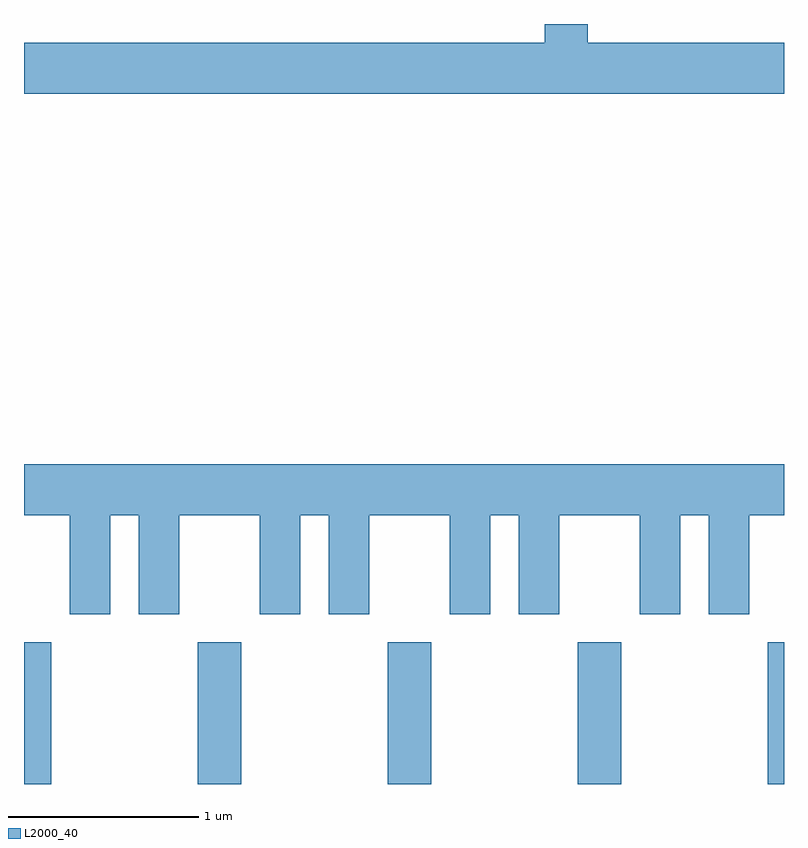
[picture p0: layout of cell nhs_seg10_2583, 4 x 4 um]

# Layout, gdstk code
import gdstk
lib = gdstk.Library(unit=1e-6, precision=1e-09)
def R(c, l, rs):  # rectangles x0, y0, x1, y1
    for r in rs: c.add(gdstk.rectangle(r[:2], r[2:], *l))
def A(c, l, x, y, w, h, nx, ny, dx, dy):  # array of equal rectangles
    R(c, l, [(x+i*dx, y+j*dy, x+i*dx+w, y+j*dy+h) for i in range(nx) for j in range(ny)])
def P(c, l, *ps):  # polygons
    for p in ps: c.add(gdstk.Polygon(p, *l))
L2000_40 = (2000, 40)

nhs_seg10_2583 = lib.new_cell('nhs_seg10_2583')
A(nhs_seg10_2583, L2000_40, 262.526, 2092.522, 0.228, 0.747, 3, 1, 1, 0)
R(nhs_seg10_2583, L2000_40, [(261.611,2092.522,261.754,2093.269), (265.526,2092.522,265.611,2093.269)])
P(nhs_seg10_2583, L2000_40, [(265.611,2096.424),(264.579,2096.424),(264.579,2096.522),(264.351,2096.522),(264.351,2096.424),(261.611,2096.424),(261.611,2096.156),(265.611,2096.156)],
  [(262.064,2093.936),(262.216,2093.936),(262.216,2093.416),(262.429,2093.416),(262.429,2093.936),(262.851,2093.936),(262.851,2093.416),(263.064,2093.416),(263.064,2093.936),(263.216,2093.936),(263.216,2093.416),(263.429,2093.416),(263.429,2093.936),(263.851,2093.936),(263.851,2093.416),(264.064,2093.416),(264.064,2093.936),(264.216,2093.936),(264.216,2093.416),(264.429,2093.416),(264.429,2093.936),(264.851,2093.936),(264.851,2093.416),(265.064,2093.416),(265.064,2093.936),(265.216,2093.936),(265.216,2093.416),(265.429,2093.416),(265.429,2093.936),(265.611,2093.936),(265.611,2094.204),(261.611,2094.204),(261.611,2093.936),(261.851,2093.936),(261.851,2093.416),(262.064,2093.416)])

lib.write_gds('nhs_seg10_2583.gds')
